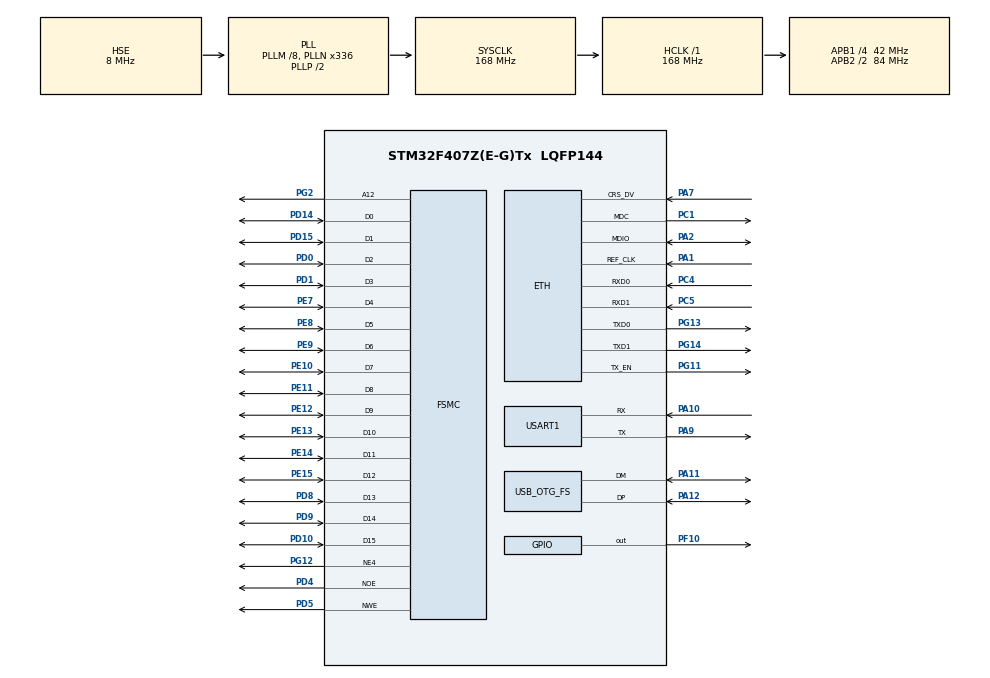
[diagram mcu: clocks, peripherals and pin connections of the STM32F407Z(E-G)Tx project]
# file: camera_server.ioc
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ETH.MediaInterface=ETH_MEDIA_INTERFACE_RMII
ETH.PHY_Name_RMII=DP83848_PHY_ADDRESS
FATFS._MAX_SS=4096
FSMC.BusTurnAroundDuration4=1
FSMC.DataSetupTime4=52
FSMC.ExtendedAddressSetupTime4=2
FSMC.ExtendedBusTurnAroundDuration4=1
FSMC.ExtendedDataSetupTime4=3
FSMC.ExtendedMode4=FSMC_EXTENDED_MODE_ENABLE
LWIP.GATEWAY_ADDRESS=192.168.001.001
LWIP.IP_ADDRESS=192.168.001.202
LWIP.LWIP_DHCP=0
LWIP.MEMP_NUM_TCP_SEG=1000
LWIP.MEM_SIZE=20*970
LWIP.NETMASK_ADDRESS=255.255.255.000
LWIP.PBUF_POOL_BUFSIZE=970
LWIP.TCP_MSS=970
LWIP.TCP_SND_BUF=3880
LWIP.TCP_SND_QUEUELEN=1000
LWIP.Version=v2.1.2_Cube
Mcu.Family=STM32F4
Mcu.Name=STM32F407Z(E-G)Tx
Mcu.Package=LQFP144
NVIC.OTG_FS_IRQn=true\:0\:0\:false\:false\:true\:false\:true
NVIC.PriorityGroup=NVIC_PRIORITYGROUP_4
PA1.Mode=RMII
PA1.Signal=ETH_REF_CLK
PA10.Mode=Asynchronous
PA10.Signal=USART1_RX
PA11.Mode=Host_Only
PA11.Signal=USB_OTG_FS_DM
PA12.Mode=Host_Only
PA12.Signal=USB_OTG_FS_DP
PA2.Mode=RMII
PA2.Signal=ETH_MDIO
PA7.Mode=RMII
PA7.Signal=ETH_CRS_DV
PA9.Mode=Asynchronous
PA9.Signal=USART1_TX
PC1.Mode=RMII
PC1.Signal=ETH_MDC
PC4.Mode=RMII
PC4.Signal=ETH_RXD0
PC5.Mode=RMII
PC5.Signal=ETH_RXD1
PD0.Signal=FSMC_D2_DA2
PD1.Signal=FSMC_D3_DA3
PD10.Signal=FSMC_D15_DA15
PD14.Signal=FSMC_D0_DA0
PD15.Signal=FSMC_D1_DA1
PD4.Signal=FSMC_NOE
PD5.Signal=FSMC_NWE
PD8.Signal=FSMC_D13_DA13
PD9.Signal=FSMC_D14_DA14
PE10.Signal=FSMC_D7_DA7
PE11.Signal=FSMC_D8_DA8
PE12.Signal=FSMC_D9_DA9
PE13.Signal=FSMC_D10_DA10
PE14.Signal=FSMC_D11_DA11
PE15.Signal=FSMC_D12_DA12
PE7.Signal=FSMC_D4_DA4
PE8.Signal=FSMC_D5_DA5
PE9.Signal=FSMC_D6_DA6
PF10.GPIO_PuPd=GPIO_PULLDOWN
PF10.Signal=GPIO_Output
PG11.Mode=RMII
PG11.Signal=ETH_TX_EN
PG12.Mode=NorPsramChipSelect4_4
PG12.Signal=FSMC_NE4
PG13.Mode=RMII
PG13.Signal=ETH_TXD0
PG14.Mode=RMII
PG14.Signal=ETH_TXD1
PG2.Signal=FSMC_A12
PH0-OSC_IN.Mode=HSE-External-Oscillator
PH0-OSC_IN.Signal=RCC_OSC_IN
PH1-OSC_OUT.Mode=HSE-External-Oscillator
PH1-OSC_OUT.Signal=RCC_OSC_OUT
ProjectManager.HeapSize=0x200
ProjectManager.StackSize=0x400
ProjectManager.TargetToolchain=STM32CubeIDE
RCC.48MHZClocksFreq_Value=48000000
RCC.AHBFreq_Value=168000000
RCC.APB1CLKDivider=RCC_HCLK_DIV4
RCC.APB1Freq_Value=42000000
RCC.APB1TimFreq_Value=84000000
RCC.APB2CLKDivider=RCC_HCLK_DIV2
RCC.APB2Freq_Value=84000000
RCC.APB2TimFreq_Value=168000000
RCC.CortexFreq_Value=168000000
RCC.HCLKFreq_Value=168000000
RCC.HSE_VALUE=8000000
RCC.HSI_VALUE=16000000
RCC.LSE_VALUE=32768
RCC.PLLM=8
RCC.PLLN=336
RCC.PLLQ=7
RCC.SYSCLKFreq_VALUE=168000000
RCC.SYSCLKSource=RCC_SYSCLKSOURCE_PLLCLK
RCC.VCOOutputFreq_Value=336000000
SH.FSMC_A12.0=FSMC_A12,A12_4
SH.FSMC_D0_DA0.0=FSMC_D0,16b-d4
SH.FSMC_D10_DA10.0=FSMC_D10,16b-d4
SH.FSMC_D11_DA11.0=FSMC_D11,16b-d4
SH.FSMC_D12_DA12.0=FSMC_D12,16b-d4
SH.FSMC_D13_DA13.0=FSMC_D13,16b-d4
SH.FSMC_D14_DA14.0=FSMC_D14,16b-d4
SH.FSMC_D15_DA15.0=FSMC_D15,16b-d4
SH.FSMC_D1_DA1.0=FSMC_D1,16b-d4
SH.FSMC_D2_DA2.0=FSMC_D2,16b-d4
SH.FSMC_D3_DA3.0=FSMC_D3,16b-d4
SH.FSMC_D4_DA4.0=FSMC_D4,16b-d4
SH.FSMC_D5_DA5.0=FSMC_D5,16b-d4
SH.FSMC_D6_DA6.0=FSMC_D6,16b-d4
SH.FSMC_D7_DA7.0=FSMC_D7,16b-d4
SH.FSMC_D8_DA8.0=FSMC_D8,16b-d4
SH.FSMC_D9_DA9.0=FSMC_D9,16b-d4
SH.FSMC_NOE.0=FSMC_NOE,Lcd4
SH.FSMC_NWE.0=FSMC_NWE,Lcd4
USART1.VirtualMode=VM_ASYNC
USB_HOST.USBH_HandleTypeDef-MSC_FS=hUsbHostFS
USB_HOST.VirtualModeFS=Msc
USB_OTG_FS.VirtualMode=Host_Only
USB_OTG_FS.phy_itface=HCD_PHY_EMBEDDED
VP_FATFS_VS_USB.Mode=USB
VP_LWIP_VS_Enabled.Mode=Enabled
VP_USB_HOST_VS_USB_HOST_MSC_FS.Mode=MSC_FS
board=custom

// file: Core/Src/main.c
/* USER CODE BEGIN Header */
/**
 ******************************************************************************
 * @file           : main.c
 * @brief          : Main program body
 ******************************************************************************
 * @attention
 *
 * Copyright (c) 2025 STMicroelectronics.
 * All rights reserved.
 *
 * This software is licensed under terms that can be found in the LICENSE file
 * in the root directory of this software component.
 * If no LICENSE file comes with this software, it is provided AS-IS.
 *
 ******************************************************************************
 */
/* USER CODE END Header */
#include "main.h"
#include "fatfs.h"
#include "lwip.h"
#include "usb_host.h"

/* USER CODE BEGIN Includes */
#include "lcd.h"
#include "delay.h"
#include "tcpServerRAW.h"
/* USER CODE END Includes */

UART_HandleTypeDef huart1;

SRAM_HandleTypeDef hsram4;

void SystemClock_Config(void);
static void MX_GPIO_Init(void);
static void MX_FSMC_Init(void);
static void MX_USART1_UART_Init(void);
void MX_USB_HOST_Process(void);

/* USER CODE BEGIN 0 */

#include <string.h>
#include <stdio.h>

#ifdef __GNUC__
/* With GCC, small printf (option LD Linker->Libraries->Small printf
 set to 'Yes') calls __io_putchar() */
int __io_putchar(int ch)
#else
int fputc(int ch, FILE *f)
#endif /* __GNUC__ */
{
	/* Place your implementation of fputc here */
	/* e.g. write a character to the UART3 and Loop until the end of transmission */
	HAL_UART_Transmit(&huart1, (uint8_t*) &ch, 1, HAL_MAX_DELAY);
	return ch;
}

extern ApplicationTypeDef Appli_state;

static FRESULT ETX_MSC_ProcessUsbDevice(void) {
	FATFS UsbDiskFatFs; /* File system object for USB disk logical drive */
	char UsbDiskPath[4] = { 0 }; /* USB Host logical drive path */
	FIL file; /* File object */
	FRESULT res; /* FatFs function common result code */
	uint32_t total_space, free_space; /* Total Space and Free Space */
	DWORD fre_clust; /* Freee Cluster */
	uint32_t byteswritten, bytesread; /* File write/read counts */
	uint8_t wr_data[] = "Welcome to EmbeTronicX!!!"; /* Data buffer */
	uint8_t rd_data[100]; /* Read buffer */
	char file_name[] = "temp.txt"; /* File name */

	do {
		/* Register the file system object to the FatFs module */
		res = f_mount(&UsbDiskFatFs, (TCHAR const*) UsbDiskPath, 0);

		if (res != FR_OK) {
			/* FatFs Init Error */
			break;
		}

		/* Check the Free Space */
		FATFS *fatFs = &UsbDiskFatFs;
		f_getfree("", &fre_clust, &fatFs);
		total_space = (uint32_t) ((UsbDiskFatFs.n_fatent - 2)
				* UsbDiskFatFs.csize * 0.5);
		free_space = (uint32_t) (fre_clust * UsbDiskFatFs.csize * 0.5);
		printf("USB Device Total Space = %lu MB\n", total_space / 1024);
		printf("USB Device Free Space  = %lu MB\n", free_space / 1024);

		/* Create a new text file with write access */
		res = f_open(&file, file_name, ( FA_CREATE_ALWAYS | FA_WRITE));
		if (res != FR_OK) {
			/* File Open Error */
			break;
		}

		/* Write the data to the text file */
		res = f_write(&file, wr_data, sizeof(wr_data), (void*) &byteswritten);

		/* Close the opened file */
		f_close(&file);

		if (res != FR_OK) {
			/* File write Error */
			break;
		}

		printf("Data written to the USD Device\n");

		/* Open the text file object with read access */
		res = f_open(&file, file_name, FA_READ);
		if (res != FR_OK) {
			/* File Open Error */
			break;
		}

		/* Read data from the file */
		res = f_read(&file, rd_data, sizeof(wr_data), (void*) &bytesread);

		/* Close the file */
		f_close(&file);

		if (res != FR_OK) {
			/* File Read Error */
			break;
		}

		/* Print the data */
		printf("Read Data : %s\n", rd_data);

	} while (0);

	/* Unmount the device */
	f_mount(NULL, UsbDiskPath, 0);

	/* Unlink the USB disk driver */
	FATFS_UnLinkDriver(UsbDiskPath);

	return res;
}
FIL file;
FATFS fs;
FRESULT res;
uint8_t buf_size[1280];

#pragma pack(2)
char filename[6];

typedef struct tagBITMAPFILEHEADER {
	WORD bfType; //位图文件的类型，在Windows中，此字段的值�?�为‘BM�??????????????????????????????????????????????????????????????????????????????(1-2字节�??????????????????????????????????????????????????????????????????????????????
	DWORD bfSize; //位图文件的大小，以字节为单位�??????????????????????????????????????????????????????????????????????????????3-6字节，低位在前）
	WORD bfReserved1; //位图文件保留字，必须�??????????????????????????????????????????????????????????????????????????????0(7-8字节�??????????????????????????????????????????????????????????????????????????????
	WORD bfReserved2; //位图文件保留字，必须�??????????????????????????????????????????????????????????????????????????????0(9-10字节�??????????????????????????????????????????????????????????????????????????????
	DWORD bfOffBits; //位图数据的起始位置，以相对于位图�??????????????????????????????????????????????????????????????????????????????11-14字节，低位在前）
//文件头的偏移量表示，以字节为单位
} BitMapFileHeader;	//BITMAPFILEHEADER;
#pragma pack()
typedef struct tagBITMAPINFOHEADER {
	DWORD biSize;//本结构所占用字节数（15-18字节�??????????????????????????????????????????????????????????????????????????????
	LONG biWidth;//位图的宽度，以像素为单位�??????????????????????????????????????????????????????????????????????????????19-22字节�??????????????????????????????????????????????????????????????????????????????
	LONG biHeight;//位图的高度，以像素为单位�??????????????????????????????????????????????????????????????????????????????23-26字节�??????????????????????????????????????????????????????????????????????????????
	WORD biPlanes;//目标设备的级别，必须�??????????????????????????????????????????????????????????????????????????????1(27-28字节�??????????????????????????????????????????????????????????????????????????????
	WORD biBitCount;//每个像素�??????????????????????????????????????????????????????????????????????????????�??????????????????????????????????????????????????????????????????????????????的位数，必须�??????????????????????????????????????????????????????????????????????????????1（双色），（29-30字节�??????????????????????????????????????????????????????????????????????????????
	//4(16色）�??????????????????????????????????????????????????????????????????????????????8(256色）16(高彩�??????????????????????????????????????????????????????????????????????????????)�??????????????????????????????????????????????????????????????????????????????24（真彩色）之�??????????????????????????????????????????????????????????????????????????????
	DWORD biCompression;//位图压缩类型，必须是0（不压缩），�??????????????????????????????????????????????????????????????????????????????31-34字节�??????????????????????????????????????????????????????????????????????????????
	//1(BI_RLE8压缩类型）或2(BI_RLE4压缩类型）之�??????????????????????????????????????????????????????????????????????????????
	DWORD biSizeImage;//位图的大�??????????????????????????????????????????????????????????????????????????????(其中包含了为了补齐行数是4的�?�数而添加的空字�??????????????????????????????????????????????????????????????????????????????)，以字节为单位（35-38字节�??????????????????????????????????????????????????????????????????????????????
	LONG biXPelsPerMeter;//位图水平分辨率，像素数（39-42字节�??????????????????????????????????????????????????????????????????????????????
	LONG biYPelsPerMeter;	//位图垂直分辨率，像素数（43-46字节)
	DWORD biClrUsed;//位图实际使用的颜色表中的颜色数（47-50字节�??????????????????????????????????????????????????????????????????????????????
	DWORD biClrImportant;//位图显示过程中重要的颜色数（51-54字节�??????????????????????????????????????????????????????????????????????????????
} BitMapInfoHeader;	//BITMAPINFOHEADER;
typedef struct tagRGBQUAD {
	BYTE rgbBlue;	//蓝色的亮度（值范围为0-255)
	BYTE rgbGreen;	//绿色的亮度（值范围为0-255)
	BYTE rgbRed;	//红色的亮度（值范围为0-255)
	BYTE rgbReserved;	//保留，必须为0
} RgbQuad;	//RGBQUAD;
typedef struct {
	BitMapFileHeader bmfHeader;
	BitMapInfoHeader bmiHeader;
	uint32_t RGB_MASK[3];			//调色板用于存放RGB掩码.
} BITMAPINFO;
uint16_t bw;

/* USER CODE END 0 */

int main(void)
{

  /* MCU Configuration--------------------------------------------------------*/

  /* Reset of all peripherals, Initializes the Flash interface and the Systick. */
  HAL_Init();

  /* Configure the system clock */
  SystemClock_Config();

  /* Initialize all configured peripherals */
  MX_GPIO_Init();
  MX_FSMC_Init();
  MX_USART1_UART_Init();
  MX_FATFS_Init();
  MX_USB_HOST_Init();
  MX_LWIP_Init();
  /* USER CODE BEGIN 2 */
	delay_init(168);

	LCD_Init();

//	while (APPLICATION_READY != Appli_state)
//		MX_USB_HOST_Process();
	POINT_COLOR = RED;
	//利用了结构体成员自增方式
	printf("%p----->reg %p,ram %p\n", LCD, &(LCD->LCD_REG), &(LCD->LCD_RAM));
//	res = f_mount(&fs, "", 1);
//	printf("mount %d\n", res);
//	res = f_open(&file, "1.bmp", FA_READ);
//	printf("open %d\n", res);
//	f_lseek(&file, 66);
//	int count=0;
//	int rgb = 0;
//	uint16_t color;
	//printf("--->%d \n", count);
	//int x, y;
	//x = 0;

	//test lcd
//	for (int k = 319; k >= 00; k--) {
//		for (int i = 0; i < 1280; i++) {
//			switch (rgb) {
//			case 0:
//				color = buf_size[count];//G,B
//				break;
//			case 1:
//				color += (uint16_t) buf_size[count] << 8;	//R,G
//				break;
//			}
//			rgb++;
//			count++;
//			if (rgb == 2) {
//				LCD_Fast_DrawPoint(x, k, color);
//				x++;
//
//				color = 0x00;
//							rgb = 0;
//				if (x==240) {
//					f_read(&file, buf_size, 1280, (void*) &bw);
//					count = 0;
//					x = 0;
//					y+=1;
//					i=1280;
//
//				}
//
//			}
//
//		}
//
//	}

//	for (int k = 0; k < 240; k++) {
//		for (int i = 0; i < 1280; i++) {
//			switch (rgb) {
//			case 0:
//				color = buf_size[count];//G,B
//				break;
//			case 1:
//				color += (uint16_t) buf_size[count] << 8;	//R,G
//				break;
//			}
//			rgb++;
//			count++;
//			if (rgb == 2) {
//				if(x<240)
//				LCD_Fast_DrawPoint(x, y, color);
//				x++;
//				if (count== 1280) {
//					f_read(&file, buf_size, 1280, (void*) &bw);
//					count = 0;
//					x = 0;
//					y+=1;
//				}
//				color = 0x00;
//				rgb = 0;
//			}
//
//		}
//
//	}
//
//		  		POINT_COLOR=RED;
//		  		LCD_ShowString(30,40,210,24,24,"Explorer STM32F4");
//		  		LCD_ShowString(30,70,200,16,16,"TFTLCD TEST");
//		  		LCD_ShowString(30,90,200,16,16,"ATOM@ALIENTEK");
//		  		LCD_ShowString(30,130,200,12,12,"2017/4/8");

	f_close(&file);
	tcp_server_init();
  /* USER CODE END 2 */

  /* Infinite loop */
	while (1) {
    //MX_USB_HOST_Process();
    MX_LWIP_Process();

    /* USER CODE BEGIN 3 */
//	  switch(x)
//	  		{
//	  			case 0:LCD_Clear(WHITE);break;
//	  			case 1:LCD_Clear(BLACK);break;
//	  			case 2:LCD_Clear(BLUE);break;
//	  			case 3:LCD_Clear(RED);break;
//	  			case 4:LCD_Clear(MAGENTA);break;
//	  			case 5:LCD_Clear(GREEN);break;
//	  			case 6:LCD_Clear(CYAN);break;
//	  			case 7:LCD_Clear(YELLOW);break;
//	  			case 8:LCD_Clear(BRRED);break;
//	  			case 9:LCD_Clear(GRAY);break;
//	  			case 10:LCD_Clear(LGRAY);break;
//	  			case 11:LCD_Clear(BROWN);break;
//	  		}
//	  		POINT_COLOR=RED;
//	  		LCD_ShowString(30,40,210,24,24,"Explorer STM32F4");
//	  		LCD_ShowString(30,70,200,16,16,"TFTLCD TEST");
//	  		LCD_ShowString(30,90,200,16,16,"ATOM@ALIENTEK");
//	  		LCD_ShowString(30,130,200,12,12,"2017/4/8");
//	  		x++;
//	  		if(x==12)x=0;
//	  		delay_ms(1000);
	}
  /* USER CODE END 3 */
}

void SystemClock_Config(void)
{
  RCC_OscInitTypeDef RCC_OscInitStruct = {0};
  RCC_ClkInitTypeDef RCC_ClkInitStruct = {0};

  /** Configure the main internal regulator output voltage
  */
  __HAL_RCC_PWR_CLK_ENABLE();
  __HAL_PWR_VOLTAGESCALING_CONFIG(PWR_REGULATOR_VOLTAGE_SCALE1);
  /** Initializes the RCC Oscillators according to the specified parameters
  * in the RCC_OscInitTypeDef structure.
  */
  RCC_OscInitStruct.OscillatorType = RCC_OSCILLATORTYPE_HSE;
  RCC_OscInitStruct.HSEState = RCC_HSE_ON;
  RCC_OscInitStruct.PLL.PLLState = RCC_PLL_ON;
  RCC_OscInitStruct.PLL.PLLSource = RCC_PLLSOURCE_HSE;
  RCC_OscInitStruct.PLL.PLLM = 8;
  RCC_OscInitStruct.PLL.PLLN = 336;
  RCC_OscInitStruct.PLL.PLLP = RCC_PLLP_DIV2;
  RCC_OscInitStruct.PLL.PLLQ = 7;
  if (HAL_RCC_OscConfig(&RCC_OscInitStruct) != HAL_OK)
  {
    Error_Handler();
  }
  /** Initializes the CPU, AHB and APB buses clocks
  */
  RCC_ClkInitStruct.ClockType = RCC_CLOCKTYPE_HCLK|RCC_CLOCKTYPE_SYSCLK
                              |RCC_CLOCKTYPE_PCLK1|RCC_CLOCKTYPE_PCLK2;
  RCC_ClkInitStruct.SYSCLKSource = RCC_SYSCLKSOURCE_PLLCLK;
  RCC_ClkInitStruct.AHBCLKDivider = RCC_SYSCLK_DIV1;
  RCC_ClkInitStruct.APB1CLKDivider = RCC_HCLK_DIV4;
  RCC_ClkInitStruct.APB2CLKDivider = RCC_HCLK_DIV2;

  if (HAL_RCC_ClockConfig(&RCC_ClkInitStruct, FLASH_LATENCY_5) != HAL_OK)
  {
    Error_Handler();
  }
}

static void MX_USART1_UART_Init(void)
{

  huart1.Instance = USART1;
  huart1.Init.BaudRate = 115200;
  huart1.Init.WordLength = UART_WORDLENGTH_8B;
  huart1.Init.StopBits = UART_STOPBITS_1;
  huart1.Init.Parity = UART_PARITY_NONE;
  huart1.Init.Mode = UART_MODE_TX_RX;
  huart1.Init.HwFlowCtl = UART_HWCONTROL_NONE;
  huart1.Init.OverSampling = UART_OVERSAMPLING_16;
  if (HAL_UART_Init(&huart1) != HAL_OK)
  {
    Error_Handler();
  }

}

static void MX_GPIO_Init(void)
{
  GPIO_InitTypeDef GPIO_InitStruct = {0};

  /* GPIO Ports Clock Enable */
  __HAL_RCC_GPIOF_CLK_ENABLE();
  __HAL_RCC_GPIOH_CLK_ENABLE();
  __HAL_RCC_GPIOC_CLK_ENABLE();
  __HAL_RCC_GPIOA_CLK_ENABLE();
  __HAL_RCC_GPIOE_CLK_ENABLE();
  __HAL_RCC_GPIOD_CLK_ENABLE();
  __HAL_RCC_GPIOG_CLK_ENABLE();

  /*Configure GPIO pin Output Level */
  HAL_GPIO_WritePin(GPIOF, GPIO_PIN_10, GPIO_PIN_RESET);

  /*Configure GPIO pin : PF10 */
  GPIO_InitStruct.Pin = GPIO_PIN_10;
  GPIO_InitStruct.Mode = GPIO_MODE_OUTPUT_PP;
  GPIO_InitStruct.Pull = GPIO_PULLDOWN;
  GPIO_InitStruct.Speed = GPIO_SPEED_FREQ_LOW;
  HAL_GPIO_Init(GPIOF, &GPIO_InitStruct);

}

/* FSMC initialization function */
static void MX_FSMC_Init(void)
{

  FSMC_NORSRAM_TimingTypeDef Timing = {0};
  FSMC_NORSRAM_TimingTypeDef ExtTiming = {0};

  /** Perform the SRAM4 memory initialization sequence
  */
  hsram4.Instance = FSMC_NORSRAM_DEVICE;
  hsram4.Extended = FSMC_NORSRAM_EXTENDED_DEVICE;
  /* hsram4.Init */
  hsram4.Init.NSBank = FSMC_NORSRAM_BANK4;
  hsram4.Init.DataAddressMux = FSMC_DATA_ADDRESS_MUX_DISABLE;
  hsram4.Init.MemoryType = FSMC_MEMORY_TYPE_SRAM;
  hsram4.Init.MemoryDataWidth = FSMC_NORSRAM_MEM_BUS_WIDTH_16;
  hsram4.Init.BurstAccessMode = FSMC_BURST_ACCESS_MODE_DISABLE;
  hsram4.Init.WaitSignalPolarity = FSMC_WAIT_SIGNAL_POLARITY_LOW;
  hsram4.Init.WrapMode = FSMC_WRAP_MODE_DISABLE;
  hsram4.Init.WaitSignalActive = FSMC_WAIT_TIMING_BEFORE_WS;
  hsram4.Init.WriteOperation = FSMC_WRITE_OPERATION_ENABLE;
  hsram4.Init.WaitSignal = FSMC_WAIT_SIGNAL_DISABLE;
  hsram4.Init.ExtendedMode = FSMC_EXTENDED_MODE_ENABLE;
  hsram4.Init.AsynchronousWait = FSMC_ASYNCHRONOUS_WAIT_DISABLE;
  hsram4.Init.WriteBurst = FSMC_WRITE_BURST_DISABLE;
  hsram4.Init.PageSize = FSMC_PAGE_SIZE_NONE;
  /* Timing */
  Timing.AddressSetupTime = 15;
  Timing.AddressHoldTime = 15;
  Timing.DataSetupTime = 52;
  Timing.BusTurnAroundDuration = 1;
  Timing.CLKDivision = 16;
  Timing.DataLatency = 17;
  Timing.AccessMode = FSMC_ACCESS_MODE_A;
  /* ExtTiming */
  ExtTiming.AddressSetupTime = 2;
  ExtTiming.AddressHoldTime = 15;
  ExtTiming.DataSetupTime = 3;
  ExtTiming.BusTurnAroundDuration = 1;
  ExtTiming.CLKDivision = 16;
  ExtTiming.DataLatency = 17;
  ExtTiming.AccessMode = FSMC_ACCESS_MODE_A;

  if (HAL_SRAM_Init(&hsram4, &Timing, &ExtTiming) != HAL_OK)
  {
    Error_Handler( );
  }

}

void Error_Handler(void)
{
	__disable_irq();
	while (1) {
	}
}
